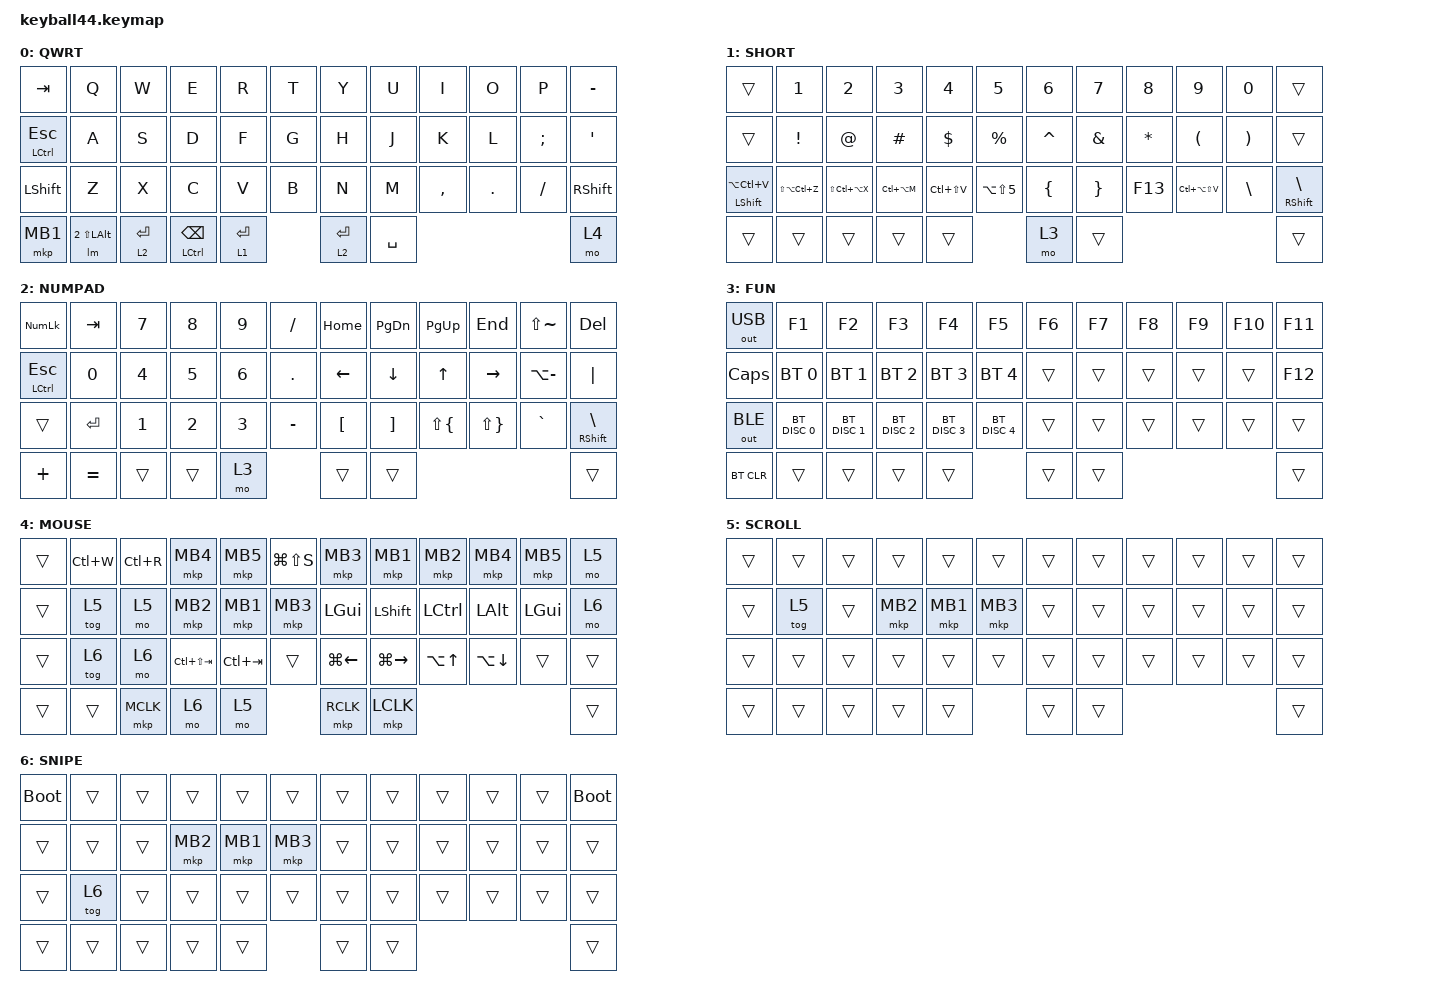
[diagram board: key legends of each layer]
#define DEFAULT 0
#define NUM     1
#define SYM     2
#define FUN     3
#define MOUSE   4
#define SCROLL  5
#define SNIPE   6

#include <behaviors/mouse_keys.dtsi>
#include <dt-bindings/zmk/mouse.h>
#include <behaviors.dtsi>
#include <dt-bindings/zmk/bt.h>
#include <dt-bindings/zmk/keys.h>
#include <dt-bindings/zmk/outputs.h>

&nice_view_spi { cs-gpios = <&pro_micro 1 GPIO_ACTIVE_HIGH>; };

&lt {
    tapping-term-ms = <240>;
    flavor = "balanced";
    quick-tap-ms = <150>;
};

&mt {
    tapping-term-ms = <200>;
    flavor = "hold-preferred";
    quick-tap-ms = <190>;
};

&caps_word { continue-list = <UNDERSCORE MINUS>; };

/ {
    // custom shift using mod-morph 

    behaviors {
        cmqus: comma_question {
            compatible = "zmk,behavior-mod-morph";
            label = "COMMA_QUESTION";
            #binding-cells = <0>;
            bindings = <&kp COMMA>, <&kp QUESTION>;

            mods = <(MOD_LSFT|MOD_RSFT)>;
        };

        dtsmi: dot_semi {
            compatible = "zmk,behavior-mod-morph";
            label = "DOT_SEMI";
            #binding-cells = <0>;
            bindings = <&kp DOT>, <&kp SEMI>;

            mods = <(MOD_LSFT|MOD_RSFT)>;
        };

        mtcaps: mod_tap_caps {
            compatible = "zmk,behavior-hold-tap";
            #binding-cells = <2>;
            flavor = "hold-preferred";
            tapping-term-ms = <400>;
            bindings = <&kp>, <&kp>;
            display-name = "Mod-Tap-Caps";
        };
    };

/**
 * Temporarily switches to a layer (`&mo`) while a modifier is held.
 * Analogous to QMK's `LM()`, using a parameterized macro.
 *
 * Params:
 *  1. Layer to switch to
 *  2. Modifier to press while layer is active
 *
 * Example:
 *  `&lm NUM_LAYER LSHIFT`
 */
            lm: lm {
                compatible = "zmk,behavior-macro-two-param";
                wait-ms = <0>;
                tap-ms = <0>;
                #binding-cells = <2>;
                bindings
                    = <&macro_param_1to1>
                    , <&macro_press &mo MACRO_PLACEHOLDER>
                    , <&macro_param_2to1>
                    , <&macro_press &kp MACRO_PLACEHOLDER>
                    , <&macro_pause_for_release>
                    , <&macro_param_2to1>
                    , <&macro_release &kp MACRO_PLACEHOLDER>
                    , <&macro_param_1to1>
                    , <&macro_release &mo MACRO_PLACEHOLDER>
                    ;
};

    combos {
        compatible = "zmk,combos";

        default_bootloader_l {
            bindings = <&bootloader>;
            key-positions = <0 1 4 5>;
        };

        default_bootloader_r {
            bindings = <&bootloader>;
            key-positions = <10 11 6 7>;
        };

        GUI_LEFT {
            bindings = <&kp LEFT_GUI>;
            key-positions = <3 15>;
        };

        SPACEALT_LEFT {
            bindings = <&mt LALT SPACE>;
            key-positions = <4 16>;
        };

        DELETE_LEFT {
            bindings = <&kp DEL>;
            key-positions = <5 17>;
            layers = <0>;
        };

        EN-DASH {
            bindings = <&kp LA(MINUS)>;
            key-positions = <6 18>;
        };

        HYPHEN_RIGHT {
            bindings = <&mt LALT MINUS>;
            key-positions = <7 19>;
        };

        GUI_RIGHT {
            bindings = <&kp LEFT_GUI>;
            key-positions = <8 20>;
        };

        CTRL_TAB_COMBO {
            bindings = <&mt LCTRL TAB>;
            key-positions = <9 21>;
        };

        EQUAL_COMBO {
            bindings = <&kp EQUAL>;
            key-positions = <11 23>;
        };

        CTRL_LEFT {
            bindings = <&mt LCTRL ESCAPE>;
            key-positions = <14 26>;
        };

        LMEH_TAB {
            bindings = <&mt LA(LS(LCTRL)) TAB>;
            key-positions = <17 29>;
        };

        RMEH_BSLASH {
            bindings = <&mt LS(LA(LCTRL)) BACKSLASH>;
            key-positions = <18 30>;
        };

        NUM_TOGGLE {
            bindings = <&tog 2>;
            key-positions = <0 1>;
        };

        GDOCSMENU_ESC {
            bindings = <&mt LA(LGUI) ESCAPE>;
            key-positions = <21 33>;
        };

        STAR_NUMPAD {
            bindings = <&kp ASTERISK>;
            key-positions = <5 17>;
            layers = <2>;
        };

        MEH_COMBO {
            bindings = <&kp LS(LA(LCTRL))>;
            key-positions = <36 37>;
        };

        MOUSE_TOGGLE {
            bindings = <&tog 4>;
            key-positions = <34 43>;
        };

        middle_click {
            bindings = <&mkp MB3>;
            key-positions = <41 42>;
            layers = <4>;
        };

        left_bracket {
            bindings = <&kp LEFT_BRACKET>;
            key-positions = <30 32>;
        };

        right_bracket {
            bindings = <&kp RIGHT_BRACKET>;
            key-positions = <30 33>;
        };

        left_brace {
            bindings = <&kp LEFT_BRACE>;
            key-positions = <31 32>;
        };

        right_brace {
            bindings = <&kp RIGHT_BRACE>;
            key-positions = <31 33>;
        };

        combo_equal {
            bindings = <&kp LS(EQUAL)>;
            key-positions = <10 22>;
        };

    };

    keymap {
        compatible = "zmk,keymap";

        default_layer {
            label = "QWRT";
            bindings = <
&kp TAB               &kp Q           &kp W        &kp E                &kp R        &kp T                   &kp Y        &kp U  &kp I      &kp O    &kp P      &kp MINUS
&mt LCTRL ESCAPE      &kp A           &kp S        &kp D                &kp F        &kp G                   &kp H        &kp J  &kp K      &kp L    &kp SEMI   &kp SQT
&kp LEFT_SHIFT        &kp Z           &kp X        &kp C                &kp V        &kp B                   &kp N        &kp M  &kp COMMA  &kp DOT  &kp SLASH  &kp RIGHT_SHIFT
&mkp MB1              &lm 2 LS(LALT)  &lt 2 ENTER  &mt LCTRL BACKSPACE  &lt 1 ENTER                          &lt 2 ENTER  &kp SPACE                             &mo 4
            >;
        };

        shortcut_layer {
            label = "SHORT";
            bindings = <
&trans                    &kp NUMBER_1       &kp NUMBER_2       &kp NUMBER_3   &kp NUMBER_4   &kp NUMBER_5               &kp NUMBER_6    &kp NUMBER_7     &kp NUMBER_8  &kp NUMBER_9          &kp NUMBER_0           &trans
&trans                    &kp EXCLAMATION    &kp AT_SIGN        &kp HASH       &kp DOLLAR     &kp PERCENT                &kp CARET       &kp AMPERSAND    &kp ASTERISK  &kp LEFT_PARENTHESIS  &kp RIGHT_PARENTHESIS  &trans
&mt LEFT_SHIFT LA(LC(V))  &kp LS(LA(LC(Z)))  &kp LS(LC(LA(X)))  &kp LC(LA(M))  &kp LC(LS(V))  &kp LA(LS(N5))             &kp LEFT_BRACE  &kp RIGHT_BRACE  &kp F13       &kp LC(LA(LS(V)))     &kp BACKSLASH          &mt RSHFT BACKSLASH
&trans                    &trans             &trans             &trans         &trans                             &mo 3  &trans                                                                                      &trans
            >;
        };

        numpad_layer {
            label = "NUMPAD";
            bindings = <
&kp KP_NLCK        &kp TAB    &kp N7  &kp N8  &kp N9  &kp FSLH               &kp HOME  &kp PG_DN  &kp PG_UP     &kp END       &kp LS(TILDE)  &kp DEL
&mt LCTRL ESCAPE   &kp N0     &kp N4  &kp N5  &kp N6  &kp DOT                &kp LEFT  &kp DOWN   &kp UP        &kp RIGHT     &kp LA(MINUS)  &kp PIPE
&trans             &kp RET    &kp N1  &kp N2  &kp N3  &kp MINUS              &kp LBKT  &kp RBKT   &kp LS(LBRC)  &kp LS(RBRC)  &kp GRAVE      &mt RSHFT BSLH
&kp PLUS           &kp EQUAL  &trans  &trans  &mo 3                  &trans  &trans                                                          &trans
            >;
        };

        function_layer {
            label = "FUN";
            bindings = <
&out OUT_USB     &kp F1         &kp F2         &kp F3         &kp F4         &kp F5                     &kp F6  &kp F7  &kp F8  &kp F9  &kp F10  &kp F11
&kp CAPS         &bt BT_SEL 0   &bt BT_SEL 1   &bt BT_SEL 2   &bt BT_SEL 3   &bt BT_SEL 4               &trans  &trans  &trans  &trans  &trans   &kp F12
&out OUT_BLE     &bt BT_DISC 0  &bt BT_DISC 1  &bt BT_DISC 2  &bt BT_DISC 3  &bt BT_DISC 4              &trans  &trans  &trans  &trans  &trans   &trans
&bt BT_CLR       &trans         &trans         &trans         &trans                            &trans  &trans                                   &trans
            >;
        };

        mouse_layer {
            label = "MOUSE";
            bindings = <
&trans  &kp LC(W)  &kp LC(R)  &mkp MB4         &mkp MB5     &kp LG(LS(S))            &mkp MB3      &mkp MB1          &mkp MB2    &mkp MB4      &mkp MB5      &mo 5
&trans  &tog 5     &mo 5      &mkp MB2         &mkp MB1     &mkp MB3                 &kp LEFT_GUI  &kp LSHFT         &kp LCTRL   &kp LEFT_ALT  &kp LEFT_GUI  &mo 6
&trans  &tog 6     &mo 6      &kp LC(LS(TAB))  &kp LC(TAB)  &trans                   &kp LG(LEFT)  &kp LG(RIGHT)     &kp LA(UP)  &kp LA(DOWN)  &trans        &trans
&trans  &trans     &mkp MCLK  &mo 6            &mo 5                      &mkp RCLK  &mkp LCLK                                                 &trans
            >;
        };

        scroll_layer {
            label = "SCROLL";
            bindings = <
&trans  &trans  &trans  &trans    &trans       &trans              &trans  &trans  &trans  &trans  &trans  &trans
&trans  &tog 5  &trans  &mkp MB2  &mkp MB1     &mkp MB3            &trans  &trans  &trans  &trans  &trans  &trans
&trans  &trans  &trans  &trans    &trans       &trans              &trans  &trans  &trans  &trans  &trans  &trans
&trans  &trans  &trans  &trans    &trans                   &trans  &trans                                  &trans
            >;
        };

        snipe_layer {
            label = "SNIPE";
            bindings = <
&bootloader  &trans  &trans  &trans    &trans    &trans              &trans  &trans  &trans  &trans  &trans  &bootloader
&trans       &trans  &trans  &mkp MB2  &mkp MB1  &mkp MB3            &trans  &trans  &trans  &trans  &trans  &trans
&trans       &tog 6  &trans  &trans    &trans    &trans              &trans  &trans  &trans  &trans  &trans  &trans
&trans       &trans  &trans  &trans    &trans                &trans  &trans                                  &trans
            >;
        };
    };
};
